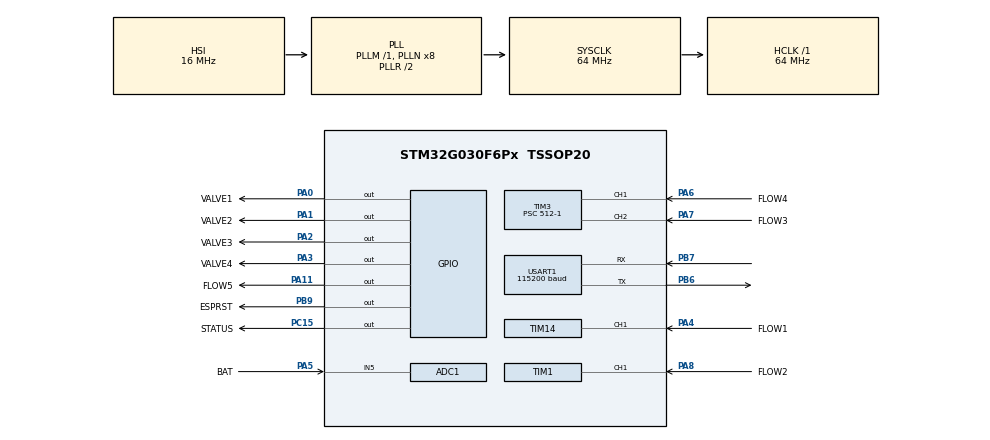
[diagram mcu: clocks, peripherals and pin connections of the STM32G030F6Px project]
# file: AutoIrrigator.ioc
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ADC1.Channel-0\#ChannelRegularConversion=ADC_CHANNEL_5
ADC1.NbrOfConversionFlag=1
ADC1.Rank-0\#ChannelRegularConversion=1
ADC1.SamplingTime-0\#ChannelRegularConversion=ADC_SAMPLINGTIME_COMMON_1
ADC1.SelectedChannel=ADC_CHANNEL_5
ADC1.master=1
Dma.Request0=USART1_RX
Dma.USART1_RX.0.Direction=DMA_PERIPH_TO_MEMORY
Dma.USART1_RX.0.EventEnable=DISABLE
Dma.USART1_RX.0.Instance=DMA1_Channel1
Dma.USART1_RX.0.MemDataAlignment=DMA_MDATAALIGN_BYTE
Dma.USART1_RX.0.MemInc=DMA_MINC_ENABLE
Dma.USART1_RX.0.Mode=DMA_CIRCULAR
Dma.USART1_RX.0.PeriphDataAlignment=DMA_PDATAALIGN_BYTE
Dma.USART1_RX.0.PeriphInc=DMA_PINC_DISABLE
Dma.USART1_RX.0.Polarity=HAL_DMAMUX_REQ_GEN_RISING
Dma.USART1_RX.0.Priority=DMA_PRIORITY_LOW
Dma.USART1_RX.0.RequestNumber=1
Dma.USART1_RX.0.SignalID=NONE
Dma.USART1_RX.0.SyncEnable=DISABLE
Dma.USART1_RX.0.SyncPolarity=HAL_DMAMUX_SYNC_NO_EVENT
Dma.USART1_RX.0.SyncRequestNumber=1
Dma.USART1_RX.0.SyncSignalID=NONE
Mcu.Family=STM32G0
Mcu.Name=STM32G030F6Px
Mcu.Package=TSSOP20
NVIC.DMA1_Channel1_IRQn=true\:1\:0\:true\:false\:true\:false\:true\:true
NVIC.TIM14_IRQn=true\:0\:0\:false\:false\:true\:true\:true\:true
NVIC.TIM1_CC_IRQn=true\:0\:0\:false\:false\:true\:true\:true\:true
NVIC.TIM3_IRQn=true\:0\:0\:false\:false\:true\:true\:true\:true
PA0.GPIO_Label=VALVE1
PA0.GPIO_PuPd=GPIO_NOPULL
PA0.PinState=GPIO_PIN_RESET
PA0.Signal=GPIO_Output
PA1.GPIO_Label=VALVE2
PA1.GPIO_PuPd=GPIO_NOPULL
PA1.Signal=GPIO_Output
PA11\ [PA9].GPIO_Label=FLOW5
PA11\ [PA9].Signal=GPIO_Output
PA13.Mode=Serial_Wire
PA13.Signal=SYS_SWDIO
PA14-BOOT0.Mode=Serial_Wire
PA14-BOOT0.Signal=SYS_SWCLK
PA14-BOOT0__PA15.StandardMode=true
PA2.GPIO_Label=VALVE3
PA2.GPIO_PuPd=GPIO_NOPULL
PA2.Signal=GPIO_Output
PA3.GPIO_Label=VALVE4
PA3.GPIO_PuPd=GPIO_NOPULL
PA3.Signal=GPIO_Output
PA4.GPIO_Label=FLOW1
PA4.GPIO_PuPd=GPIO_PULLUP
PA4.Signal=S_TIM14_CH1
PA5.GPIO_Label=BAT
PA5.Mode=IN5
PA5.Signal=ADC1_IN5
PA6.GPIO_Label=FLOW4
PA6.GPIO_PuPd=GPIO_PULLUP
PA6.Signal=S_TIM3_CH1
PA7.GPIO_Label=FLOW3
PA7.GPIO_PuPd=GPIO_PULLUP
PA7.Signal=S_TIM3_CH2
PA8.GPIO_Label=FLOW2
PA8.GPIO_PuPd=GPIO_PULLUP
PA8.Signal=S_TIM1_CH1
PB0__PB1__PB2__PA8.StandardMode=true
PB3__PB4__PB5__PB6.StandardMode=true
PB6.GPIO_PuPd=GPIO_PULLUP
PB6.Mode=Asynchronous
PB6.Signal=USART1_TX
PB7.GPIO_PuPd=GPIO_PULLUP
PB7.Mode=Asynchronous
PB7.Signal=USART1_RX
PB7__PB8.StandardMode=true
PB9.GPIO_Label=ESPRST
PB9.GPIO_PuPd=GPIO_NOPULL
PB9.PinState=GPIO_PIN_SET
PB9.Signal=GPIO_Output
PC14-OSC32_IN\ (PC14)__PB9.StandardMode=true
PC15-OSC32_OUT\ (PC15).GPIO_Label=STATUS
PC15-OSC32_OUT\ (PC15).Signal=GPIO_Output
ProjectManager.HeapSize=0x200
ProjectManager.StackSize=0x400
ProjectManager.TargetToolchain=STM32CubeIDE
RCC.ADCFreq_Value=64000000
RCC.AHBFreq_Value=64000000
RCC.CortexFreq_Value=64000000
RCC.EXTERNAL_CLOCK_VALUE=12288000
RCC.HCLKFreq_Value=64000000
RCC.HSE_VALUE=8000000
RCC.HSI_VALUE=16000000
RCC.LSE_VALUE=32768
RCC.SYSCLKFreq_VALUE=64000000
RCC.SYSCLKSource=RCC_SYSCLKSOURCE_PLLCLK
RCC.VCOOutputFreq_Value=128000000
SH.S_TIM14_CH1.0=TIM14_CH1,Input_Capture1_from_TI1
SH.S_TIM1_CH1.0=TIM1_CH1,Input_Capture1_from_TI1
SH.S_TIM3_CH1.0=TIM3_CH1,Input_Capture1_from_TI1
SH.S_TIM3_CH2.0=TIM3_CH2,Input_Capture2_from_TI2
TIM1.Channel-Input_Capture1_from_TI1=TIM_CHANNEL_1
TIM1.Prescaler=512-1
TIM14.Channel=TIM_CHANNEL_1
TIM14.Prescaler=512-1
TIM3.Channel-Input_Capture1_from_TI1=TIM_CHANNEL_1
TIM3.Channel-Input_Capture2_from_TI2=TIM_CHANNEL_2
TIM3.Prescaler=512-1
USART1.BaudRate=115200
USART1.VirtualMode-Asynchronous=VM_ASYNC
VP_TIM14_VS_ClockSourceINT.Mode=Enable_Timer
VP_TIM1_VS_ClockSourceINT.Mode=Internal
VP_TIM3_VS_ClockSourceINT.Mode=Internal
board=custom

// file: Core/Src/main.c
/* USER CODE BEGIN Header */
/**
  ******************************************************************************
  * @file           : main.c
  * @brief          : Main program body
  ******************************************************************************
  * @attention
  *
  * Copyright (c) 2025 STMicroelectronics.
  * All rights reserved.
  *
  * This software is licensed under terms that can be found in the LICENSE file
  * in the root directory of this software component.
  * If no LICENSE file comes with this software, it is provided AS-IS.
  *
  ******************************************************************************
  */
/* USER CODE END Header */
#include "main.h"
#include "adc.h"
#include "dma.h"
#include "tim.h"
#include "usart.h"
#include "gpio.h"

/* USER CODE BEGIN Includes */
#include <string.h>
#include <stdio.h>

#include "../ESP8266/esp8266.h"
#include "../wifihandler/wifihandler.h"
#include "../credentials.h"
#include "../irrigator/irrigator.h"
#include "../settings.h"
#include "../weather/weather.h"
/* USER CODE END Includes */

/* USER CODE BEGIN PTD */
Battery_t bat;
/* USER CODE END PTD */

/* USER CODE BEGIN PM */
#define BAT_ADC_CALIBRATION_VALUE 36 / 10
/* USER CODE END PM */

/* USER CODE BEGIN PV */
const uint32_t MAX_FLOW_PERIOD = 1 / ((float)MIN_WATER_FLOW / 60.0 * 7.5) * 1000;

uint8_t time_hour;
uint8_t time_minute;

WIFI_t wifi;
Connection_t conn;

Valve_t valve_list[VALVES_NUM];
Flow_t flow1;
Flow_t flow2;
Flow_t flow3;
Flow_t flow4;
Schedule_t schedule1;
Schedule_t schedule2;
Schedule_t schedule3;
Schedule_t schedule4;

Weather_t weather;
int8_t yesterday_last_precipitation_hour;
/* USER CODE END PV */

void SystemClock_Config(void);
/* USER CODE BEGIN PFP */
void BATTERY_GetVoltage(void);
/* USER CODE END PFP */

int main(void)
{

  /* MCU Configuration--------------------------------------------------------*/

  /* Reset of all peripherals, Initializes the Flash interface and the Systick. */
  HAL_Init();

  /* Configure the system clock */
  SystemClock_Config();

  /* Initialize all configured peripherals */
  MX_GPIO_Init();
  MX_DMA_Init();
  MX_TIM1_Init();
  MX_TIM3_Init();
  MX_TIM14_Init();
  MX_USART1_UART_Init();
  MX_ADC1_Init();
  /* USER CODE BEGIN 2 */
  // ESPRST is HIGH by default (set up in .ioc file) so ESP is enabled by default
  if (ESP8266_Init() == TIMEOUT)
  {
	while (1)
		__NOP();
  }

#ifdef ENABLE_SAVE_TO_FLASH
  FLASH_ReadSaveData();
  if (WIFI_SetName(&wifi, savedata.name) == ERR)
    WIFI_SetName(&wifi, (char*)ESP_NAME); // happens when there is nothing saved to FLASH, so set default name
  WIFI_SetIP(&wifi, savedata.ip);         // if there is nothing saved to FLASH, this function does nothing
#else
  WIFI_SetName(&wifi, (char*)ESP_NAME);
#endif

  memcpy(wifi.SSID, ssid, strlen(ssid));
  memcpy(wifi.pw, password, strlen(password));
  HAL_GPIO_WritePin(STATUS_Port, STATUS_Pin, 1);
  uint32_t connect_status = WIFI_Connect(&wifi);
  if (connect_status == FAIL || connect_status == ERROR)
  {
    // try again
    NVIC_SystemReset();
  }
  HAL_GPIO_WritePin(STATUS_Port, STATUS_Pin, 0);
  WIFI_EnableNTPServer(&wifi, 2);

  /*
  The first time the ESP connects to WiFi, the gateway assigns an IP to it, which now gets saved to FLASH.
  The next time the ESP connects, the gateway could assign a different IP; to prevent this, the function
  WIFI_SetIP(&wifi, savedata.ip); loads the IP previously saved on FLASH so that the ESP tries to connect
  and get this IP
  */
  strncpy(savedata.ip, wifi.IP, 15);
  FLASH_WriteSaveData();

  WIFI_StartServer(&wifi, SERVER_PORT);

  HAL_TIM_IC_Start_IT(&htim14, TIM_CHANNEL_1);
  HAL_TIM_IC_Start_IT(&htim1, TIM_CHANNEL_1);
  HAL_TIM_IC_Start_IT(&htim3, TIM_CHANNEL_1);
  HAL_TIM_IC_Start_IT(&htim3, TIM_CHANNEL_2);

  VALVE_Init(&valve_list[0], &flow1, &schedule1, 1, VALVE1_GPIO_Port, VALVE1_Pin);
  VALVE_Init(&valve_list[1], &flow2, &schedule2, 2, VALVE2_GPIO_Port, VALVE2_Pin);
  VALVE_Init(&valve_list[2], &flow3, &schedule3, 3, VALVE3_GPIO_Port, VALVE3_Pin);
  VALVE_Init(&valve_list[3], &flow4, &schedule4, 4, VALVE4_GPIO_Port, VALVE4_Pin);

  WEATHER_GetForecast(&weather, ESP8266_GetBuffer());
  SCHEDULE_ReadFromFlash(valve_list, VALVES_NUM);

  HAL_ADCEx_Calibration_Start(&hadc1);
  /* USER CODE END 2 */

  /* Infinite loop */
  /* USER CODE BEGIN WHILE */
  uint32_t timestamp = 0;
  uint8_t seconds = 60;
  while (1)
  {
	  BATTERY_GetVoltage();

	  // HANDLE WIFI CONNECTION
	  Response_t status = WIFI_ReceiveRequest(&wifi, &conn, AT_SHORT_TIMEOUT);
	  if (status == OK)
	  {
		  HAL_GPIO_TogglePin(STATUS_GPIO_Port, STATUS_Pin);
		  char* key_ptr = NULL;

		  if ((key_ptr = WIFI_RequestHasKey(&conn, "switch")))
			  WIFIHANDLER_HandleValveRequest(&conn, valve_list, VALVES_NUM, key_ptr);

		  else if ((key_ptr = WIFI_RequestHasKey(&conn, "wifi")))
			  WIFIHANDLER_HandleWiFiRequest(&conn, key_ptr);

		  else if (conn.request_type == GET)
		  {
			  if ((key_ptr = WIFI_RequestHasKey(&conn, "features")))
				  WIFIHANDLER_HandleFeaturePacket(&conn, valve_list, VALVES_NUM, (char*)FEATURES_TEMPLATE);
			  else if ((key_ptr = WIFI_RequestHasKey(&conn, "notification")))
				  WIFIHANDLER_HandleNotificationRequest(&conn, key_ptr);
			  else if ((key_ptr = WIFI_RequestHasKey(&conn, "weather")))
				  WIFIHANDLER_HandleWeatherRequest(&weather, &conn, key_ptr);
			  else
				  WIFI_SendResponse(&conn, "404 Not Found", "", 0);
		  }
		  else if (conn.request_type == POST)
		  {
			  if ((key_ptr = WIFI_RequestHasKey(&conn, "at")))
				  AT_ExecuteRemoteATCommand(&conn, key_ptr);
			  else
				  WIFI_SendResponse(&conn, "404 Not Found", "", 0);
		  }
		  HAL_GPIO_TogglePin(STATUS_GPIO_Port, STATUS_Pin);
	  }
	  else if (status != TIMEOUT)
	  {
		  sprintf(wifi.buf, "Status: %d", status);
		  WIFI_ResetComm(&wifi, &conn);
		  WIFI_SendResponse(&conn, "500 Internal server error", wifi.buf, strlen(wifi.buf));
	  }

	  if (!WIFI_response_sent)
	  {
		  if (status == ERR || status == NULVAL)
			  WIFI_ResetComm(&wifi, &conn);
	  }
	  else
		  WIFI_response_sent = false;

	  // HANDLE WATER FLOW
	  // check flow for each valve
	  for (uint32_t i = 0; i < VALVES_NUM; i++)
	  {
		  Valve_t* valve = &(valve_list[i]);
		  if (valve->flow == NULL) continue;
		  if (uwTick - valve->flow->ic_timestamp > MAX_FLOW_PERIOD)
			  valve->flow->lt_per_hour = 0;
	  }

	  // get time every minute and every 15 minutes get the forecast
	  if (uwTick - timestamp > (60 - seconds) * 1000)
	  {
		  time_hour = WIFI_GetTimeHour(&wifi);
		  time_minute = WIFI_GetTimeMinutes(&wifi);
		  seconds = WIFI_GetTimeSeconds(&wifi);
		  timestamp = uwTick;

		  // --------- UPDATE FORECAST ---------
		  if (time_minute % 15 == 0)
			  WEATHER_GetForecast(&weather, ESP8266_GetBuffer());

		  if (time_hour == 23)
			  yesterday_last_precipitation_hour = WEATHER_GetTodayLastPrecipitation(&weather);

		  // --------- KEEP VALVES CLOSED IF IT RAINED LESS THAN 12 HOURS AGO ---------
		  bool keep_valves_closed = false;
		  if (yesterday_last_precipitation_hour != -1)
		  {
			  uint8_t time_diff_past = 24 - yesterday_last_precipitation_hour + time_hour;
			  if (time_diff_past <= 12)
				  keep_valves_closed = true;
		  }

		  // --------- KEEP VALVES CLOSED IF IT WILL RAIN IN LESS THAN 12 HOURS ---------
		  uint8_t time_diff_future = WEATHER_GetTodayNextPrecipitation(&weather) - time_hour;
		  if (time_diff_future <= 12)
			  keep_valves_closed = true;

		  if (weather.current_precipitation >= PRECIPITATION_THRESHOLD)
			  keep_valves_closed = true;

		  // --------- CLOSE/OPEN VALVES ---------
		  for (uint32_t i = 0; i < VALVES_NUM; i++)
		  {
			  Valve_t* valve = &(valve_list[i]);

			  if (keep_valves_closed)
			  {
				  NOTIFICATION_Set((char*)NOTIFICATION_WEATHER_NO_VALVE_OPEN, sizeof(NOTIFICATION_WEATHER_NO_VALVE_OPEN));

				  if (!valve->has_manual_override)
					  VALVE_Close(valve);
				  continue;
			  }
			  else if (notification.text == (char*)NOTIFICATION_WEATHER_NO_VALVE_OPEN)
				  NOTIFICATION_Reset();

			  if (time_hour == valve->schedule->hour_close && time_minute == valve->schedule->minute_close)
			  {
				  valve->has_manual_override = false;
				  VALVE_Close(valve);
			  }
			  else if (time_hour == valve->schedule->hour_open && time_minute == valve->schedule->minute_open)
			  {
				  valve->has_manual_override = false;
				  VALVE_Open(valve);
			  }
		  }

		  if (bat.voltage_integer <= 11 && bat.voltage_decimal <= 50)
			  NOTIFICATION_Set((char*)NOTIFICATION_LOW_BATTERY, sizeof(NOTIFICATION_LOW_BATTERY));
		  else if (notification.text == (char*)NOTIFICATION_LOW_BATTERY)
			  NOTIFICATION_Reset();
	  }

    /* USER CODE END WHILE */

  }
}

void SystemClock_Config(void)
{
  RCC_OscInitTypeDef RCC_OscInitStruct = {0};
  RCC_ClkInitTypeDef RCC_ClkInitStruct = {0};

  /** Configure the main internal regulator output voltage
  */
  HAL_PWREx_ControlVoltageScaling(PWR_REGULATOR_VOLTAGE_SCALE1);

  /** Initializes the RCC Oscillators according to the specified parameters
  * in the RCC_OscInitTypeDef structure.
  */
  RCC_OscInitStruct.OscillatorType = RCC_OSCILLATORTYPE_HSI;
  RCC_OscInitStruct.HSIState = RCC_HSI_ON;
  RCC_OscInitStruct.HSIDiv = RCC_HSI_DIV1;
  RCC_OscInitStruct.HSICalibrationValue = RCC_HSICALIBRATION_DEFAULT;
  RCC_OscInitStruct.PLL.PLLState = RCC_PLL_ON;
  RCC_OscInitStruct.PLL.PLLSource = RCC_PLLSOURCE_HSI;
  RCC_OscInitStruct.PLL.PLLM = RCC_PLLM_DIV1;
  RCC_OscInitStruct.PLL.PLLN = 8;
  RCC_OscInitStruct.PLL.PLLP = RCC_PLLP_DIV2;
  RCC_OscInitStruct.PLL.PLLR = RCC_PLLR_DIV2;
  if (HAL_RCC_OscConfig(&RCC_OscInitStruct) != HAL_OK)
  {
    Error_Handler();
  }

  /** Initializes the CPU, AHB and APB buses clocks
  */
  RCC_ClkInitStruct.ClockType = RCC_CLOCKTYPE_HCLK|RCC_CLOCKTYPE_SYSCLK
                              |RCC_CLOCKTYPE_PCLK1;
  RCC_ClkInitStruct.SYSCLKSource = RCC_SYSCLKSOURCE_PLLCLK;
  RCC_ClkInitStruct.AHBCLKDivider = RCC_SYSCLK_DIV1;
  RCC_ClkInitStruct.APB1CLKDivider = RCC_HCLK_DIV1;

  if (HAL_RCC_ClockConfig(&RCC_ClkInitStruct, FLASH_LATENCY_2) != HAL_OK)
  {
    Error_Handler();
  }
}

/* USER CODE BEGIN 4 */
void BATTERY_GetVoltage(void)
{
	HAL_ADC_Start(&hadc1);
	HAL_ADC_PollForConversion(&hadc1, 250);
	bat.voltage_mv = HAL_ADC_GetValue(&hadc1) * BAT_ADC_CALIBRATION_VALUE;
	bat.voltage_integer = bat.voltage_mv / 1000;
	bat.voltage_decimal = (bat.voltage_mv - bat.voltage_integer * 1000) / 10;
}

void HAL_TIM_IC_CaptureCallback(TIM_HandleTypeDef *htim)
{
	if (htim->Instance == TIM14 && htim->Channel == HAL_TIM_ACTIVE_CHANNEL_1)
	{
		// FLOW1, VALVE1
		// TIM14 only has one channel
		uint32_t val = HAL_TIM_ReadCapturedValue(htim, TIM_CHANNEL_1);
		valve_list[0].flow->ic_val = val;
		FLOW_CalculateFlow(valve_list[0].flow);
	}
	else if (htim->Instance == TIM1 && htim->Channel == HAL_TIM_ACTIVE_CHANNEL_1)
	{
		// FLOW2
		uint32_t val = HAL_TIM_ReadCapturedValue(htim, TIM_CHANNEL_1);
		valve_list[1].flow->ic_val = val;
		FLOW_CalculateFlow(valve_list[1].flow);
	}
	else if (htim->Instance == TIM3 && htim->Channel)
	{
		if (htim->Channel == HAL_TIM_ACTIVE_CHANNEL_1)
		{
			// FLOW4
			uint32_t val = HAL_TIM_ReadCapturedValue(htim, TIM_CHANNEL_1);
			valve_list[3].flow->ic_val = val;
			FLOW_CalculateFlow(valve_list[3].flow);
		}
		else if (htim->Channel == HAL_TIM_ACTIVE_CHANNEL_2)
		{
			// FLOW3
			uint32_t val = HAL_TIM_ReadCapturedValue(htim, TIM_CHANNEL_2);
			valve_list[2].flow->ic_val = val;
			FLOW_CalculateFlow(valve_list[2].flow);
		}
	}
}
/* USER CODE END 4 */

void Error_Handler(void)
{
  __disable_irq();
  while (1)
  {
  }
}
